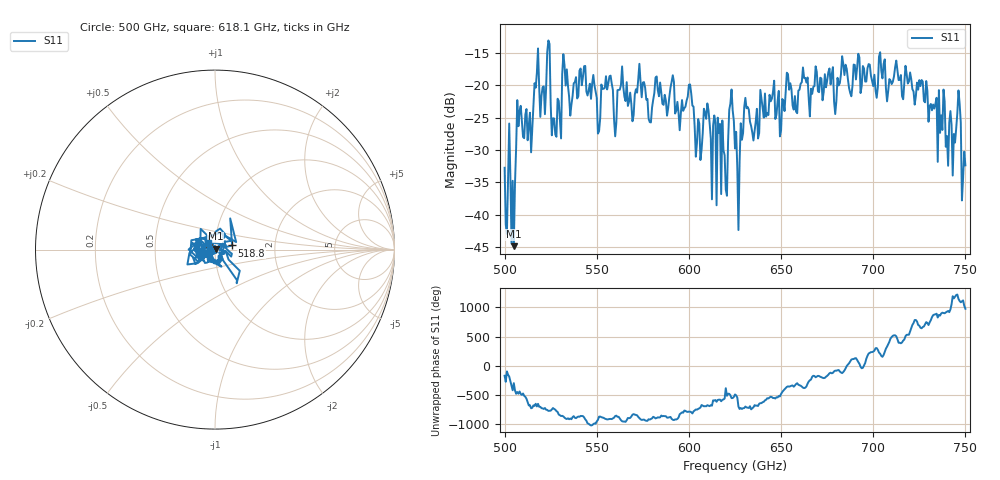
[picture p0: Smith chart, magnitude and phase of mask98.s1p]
!Created with skrf (http://scikit-rf.org).
# GHz S MA R 50.0
!freq magS11 angS11
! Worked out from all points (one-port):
!   401 points, 500 GHz to 750 GHz, reference 50 ohm
!   lowest |S11| = -44.9 dB at 505 GHz (marker M1), VSWR 1.01, Z = 50.3 + j0.495 ohm
!   |S11| at or under -10 dB: start of sweep to end of sweep
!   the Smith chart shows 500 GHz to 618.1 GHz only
!   S11 on the Smith chart (normalised r, x): 500 GHz: 0.96, -0.01; 518.8 GHz: 1.21, +0.06; 618.1 GHz: 0.93, +0.07
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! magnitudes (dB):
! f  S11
! 500 GHz  -32.7
! 505 GHz  -44.9
! 508.1 GHz  -23.9
! 513.8 GHz  -24.2
! 518.8 GHz  -20.2
! 523.8 GHz  -13.0
! 526.9 GHz  -25.1
! 531.2 GHz  -18.2
! 542.5 GHz  -18.7
! 550.6 GHz  -27.5
! 562.5 GHz  -20.7
! 590.6 GHz  -19.4
! 593.8 GHz  -22.5
! 600 GHz  -19.9
! 605 GHz  -25.2
! 609.4 GHz  -25.2
! 618.1 GHz  -25.4
! 620 GHz  -36.1
! 623.1 GHz  -20.6
! 625 GHz  -29.8
! 626.2 GHz  -32.8
! 631.2 GHz  -23.5
! 656.2 GHz  -23.1
! 687.5 GHz  -21.2
! 718.8 GHz  -19.7
! 741.9 GHz  -24.0
! 746.2 GHz  -20.8
! 750 GHz  -32.4
